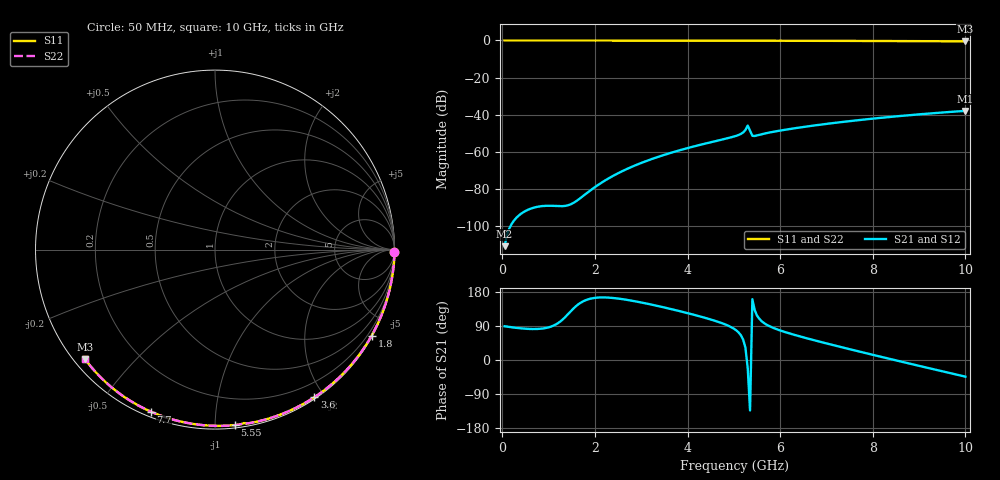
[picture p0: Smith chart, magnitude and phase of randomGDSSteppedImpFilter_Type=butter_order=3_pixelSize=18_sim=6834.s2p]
! freq	dB(S11)	phase(S11)	dB(S12)	phase(S12)
!  dB(S21)	phase(S21)	dB(S22)	phase(S22)
!S-par simulation data
#  GHz  S  DB  R 50
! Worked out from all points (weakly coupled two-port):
!   200 points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, 50 MHz to 10 GHz, reference 50 ohm
!   highest |S21| = -37.91 dB at 10 GHz (marker M1); lowest = -110.8 dB at 50 MHz (marker M2)
!   lowest |S11| = -0.5 dB at 10 GHz (marker M3), VSWR 36.74, Z = 1.54 - j18.2 ohm
!   |S11| at or under -10 dB: nowhere
!   |S22| runs from -0.5 to 0.0 dB; largest |S21 - S12| = 0
!   S11 on the Smith chart (normalised r, x): 50 MHz: open; 1.8 GHz: 0.03, -3.91; 3.6 GHz: 0.02, -1.88; 5.55 GHz: 0.02, -1.12; 7.7 GHz: 0.02, -0.68; 10 GHz: 0.03, -0.36
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0.05  -0.00 -0.8  -110.77 89.1  -110.77 89.1  -0.00 -0.8
0.9  -0.02 -14.5  -89.10 83.6  -89.10 83.6  -0.02 -14.5
1.75  -0.04 -27.9  -83.65 155.1  -83.65 155.1  -0.04 -27.9
1.8  -0.04 -28.7  -82.68 157.8  -82.68 157.8  -0.04 -28.7
1.95  -0.04 -31.1  -79.86 163.0  -79.86 163.0  -0.04 -31.1
2.25  -0.05 -35.7  -74.92 164.9  -74.92 164.9  -0.05 -35.7
2.55  -0.05 -40.3  -70.87 161.3  -70.87 161.3  -0.05 -40.3
2.95  -0.06 -46.4  -66.45 153.0  -66.45 153.0  -0.06 -46.4
3.4  -0.07 -53.1  -62.39 141.4  -62.39 141.4  -0.07 -53.1
3.6  -0.08 -56.1  -60.81 135.7  -60.81 135.7  -0.08 -56.1
4.3  -0.09 -66.3  -56.03 114.0  -56.03 114.0  -0.09 -66.3
5.05  -0.12 -76.8  -51.37 78.5  -51.37 78.5  -0.12 -76.8
5.2  -0.13 -79.0  -49.56 54.2  -49.56 54.2  -0.13 -79.0
5.25  -0.14 -79.7  -48.20 32.9  -48.20 32.9  -0.14 -79.7
5.3  -0.17 -80.5  -45.86 -21.7  -45.86 -21.7  -0.17 -80.5
5.4  -0.15 -81.4  -51.35 160.4  -51.35 160.4  -0.15 -81.4
5.55  -0.14 -83.6  -50.80 108.9  -50.80 108.9  -0.14 -83.6
6  -0.16 -89.7  -48.52 78.0  -48.52 78.0  -0.16 -89.7
6.7  -0.19 -98.9  -45.90 53.3  -45.90 53.3  -0.19 -98.9
7.7  -0.26 -111.6  -42.89 22.5  -42.89 22.5  -0.26 -111.6
8.35  -0.31 -119.7  -41.24 3.4  -41.24 3.4  -0.31 -119.7
10  -0.47 -140.0  -37.91 -44.0  -37.91 -44.0  -0.47 -140.0
